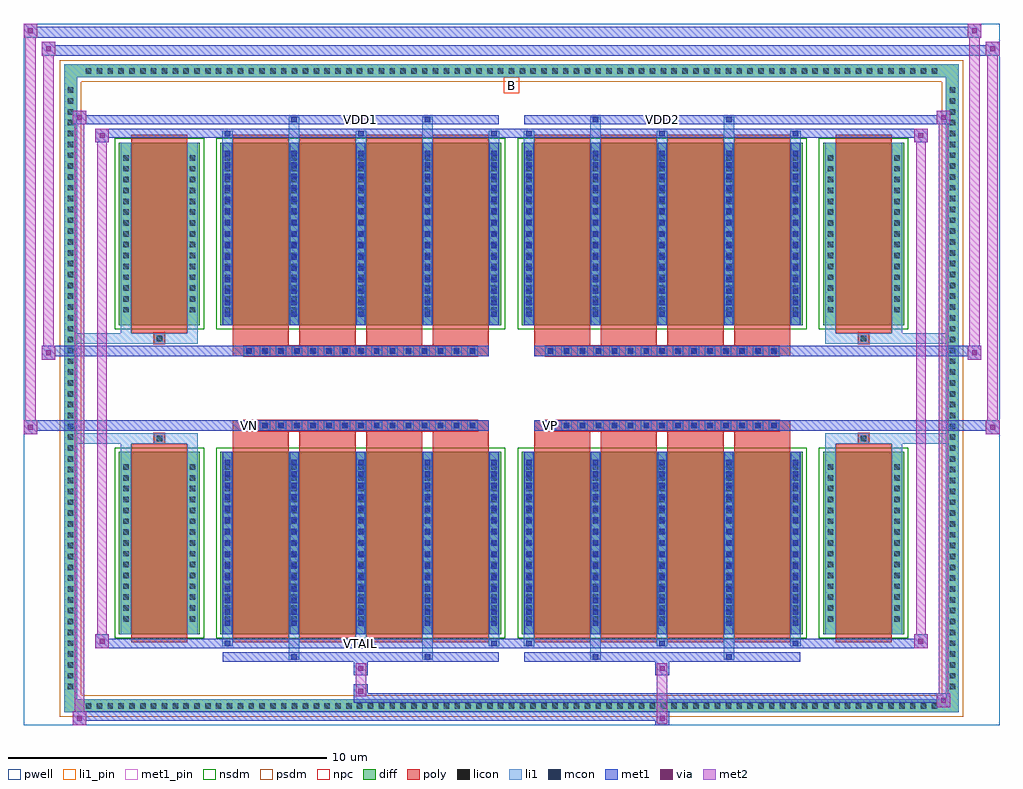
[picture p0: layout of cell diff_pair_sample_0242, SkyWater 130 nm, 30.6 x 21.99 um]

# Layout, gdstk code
import gdstk
lib = gdstk.Library(unit=1e-6, precision=5e-09)
def R(c, l, rs):  # rectangles x0, y0, x1, y1
    for r in rs: c.add(gdstk.rectangle(r[:2], r[2:], *l))
def A(c, l, x, y, w, h, nx, ny, dx, dy):  # array of equal rectangles
    R(c, l, [(x+i*dx, y+j*dy, x+i*dx+w, y+j*dy+h) for i in range(nx) for j in range(ny)])
def P(c, l, *ps):  # polygons
    for p in ps: c.add(gdstk.Polygon(p, *l))
pwell = (64, 44)
diff = (65, 20)
poly = (66, 20)
licon = (66, 44)
li1_pin = (67, 16)
li1 = (67, 20)
mcon = (67, 44)
met1_pin = (68, 16)
met1 = (68, 20)
via = (68, 44)
met2 = (69, 20)
nsdm = (93, 44)
psdm = (94, 20)
npc = (95, 20)

diff_pair_sample_0242 = lib.new_cell('diff_pair_sample_0242')
R(diff_pair_sample_0242, pwell, [(-15.3,-10.56,15.3,11.43), (-12.62,-8.75,-0.01,-0.805), (0.01,-8.75,12.62,-0.805), (-12.62,0.805,-0.01,8.75), (0.01,0.805,12.62,8.75)])
A(diff_pair_sample_0242, diff, -13.465, -10.16, 0.41, 0.41, 79, 2, 0.34, 19.91)
A(diff_pair_sample_0242, diff, -14.03, -9.555, 0.41, 0.41, 1, 56, 0, 0.34)
A(diff_pair_sample_0242, diff, 13.62, -9.555, 0.41, 0.41, 1, 56, 0, 0.34)
R(diff_pair_sample_0242, diff, [(-13.465,-10.16,13.465,-9.75), (-14.03,-9.555,-13.62,9.555), (13.62,-9.555,14.03,9.555), (-12.31,-7.705,-9.77,-1.985), (-9.13,-7.705,-0.32,-1.985), (0.32,-7.705,9.13,-1.985), (9.77,-7.705,12.31,-1.985), (-12.31,1.985,-9.77,7.705), (-9.13,1.985,-0.32,7.705), (0.32,1.985,9.13,7.705), (9.77,1.985,12.31,7.705), (-13.465,9.75,13.465,10.16)])
P(diff_pair_sample_0242, diff, [(14.03,10.16),(-14.03,10.16),(-14.03,-9.75),(-13.62,-9.75),(-13.62,9.75),(13.62,9.75),(13.62,-9.75),(-13.62,-9.75),(-14.03,-9.75),(-14.03,-10.16),(14.03,-10.16)])
A(diff_pair_sample_0242, poly, -8.74, -7.955, 1.76, 6.22, 4, 2, 2.09, 9.69)
A(diff_pair_sample_0242, poly, 0.71, -7.955, 1.76, 6.22, 4, 2, 2.09, 9.69)
A(diff_pair_sample_0242, poly, -8.74, -1.735, 1.76, 0.4, 4, 2, 2.09, 3.07)
A(diff_pair_sample_0242, poly, 0.71, -1.735, 1.76, 0.4, 4, 2, 2.09, 3.07)
A(diff_pair_sample_0242, poly, -8.39, -1.335, 0.33, 0.33, 15, 2, 0.5, 2.34)
A(diff_pair_sample_0242, poly, 1.06, -1.335, 0.33, 0.33, 15, 2, 0.5, 2.34)
R(diff_pair_sample_0242, poly, [(-11.92,-7.955,-10.16,-1.735), (10.16,-7.955,11.92,-1.735), (-11.205,-1.735,-10.875,-1.405), (-11.205,-1.735,-10.875,-1.405), (10.875,-1.735,11.205,-1.405), (10.875,-1.735,11.205,-1.405), (-8.74,-1.335,-0.71,-1.005), (0.71,-1.335,8.74,-1.005), (-8.74,1.005,-0.71,1.335), (0.71,1.005,8.74,1.335), (-11.205,1.405,-10.875,1.735), (-11.205,1.405,-10.875,1.735), (10.875,1.405,11.205,1.735), (10.875,1.405,11.205,1.735), (-11.92,1.735,-10.16,7.955), (10.16,1.735,11.92,7.955)])
A(diff_pair_sample_0242, licon, -13.345, -10.04, 0.17, 0.17, 79, 2, 0.34, 19.91)
A(diff_pair_sample_0242, licon, -13.91, -9.435, 0.17, 0.17, 1, 56, 0, 0.34)
A(diff_pair_sample_0242, licon, 13.74, -9.435, 0.17, 0.17, 1, 56, 0, 0.34)
A(diff_pair_sample_0242, licon, -12.17, -7.31, 0.17, 0.17, 1, 15, 0, 0.34)
A(diff_pair_sample_0242, licon, -10.08, -7.31, 0.17, 0.17, 1, 15, 0, 0.34)
A(diff_pair_sample_0242, licon, -8.99, -7.31, 0.17, 0.17, 5, 15, 2.09, 0.34)
A(diff_pair_sample_0242, licon, 0.46, -7.31, 0.17, 0.17, 5, 15, 2.09, 0.34)
A(diff_pair_sample_0242, licon, 9.91, -7.31, 0.17, 0.17, 1, 15, 0, 0.34)
A(diff_pair_sample_0242, licon, 12, -7.31, 0.17, 0.17, 1, 15, 0, 0.34)
A(diff_pair_sample_0242, licon, -8.31, -1.255, 0.17, 0.17, 15, 2, 0.5, 2.34)
A(diff_pair_sample_0242, licon, 1.14, -1.255, 0.17, 0.17, 15, 2, 0.5, 2.34)
A(diff_pair_sample_0242, licon, -12.17, 2.38, 0.17, 0.17, 1, 15, 0, 0.34)
A(diff_pair_sample_0242, licon, -10.08, 2.38, 0.17, 0.17, 1, 15, 0, 0.34)
A(diff_pair_sample_0242, licon, -8.99, 2.38, 0.17, 0.17, 5, 15, 2.09, 0.34)
A(diff_pair_sample_0242, licon, 0.46, 2.38, 0.17, 0.17, 5, 15, 2.09, 0.34)
A(diff_pair_sample_0242, licon, 9.91, 2.38, 0.17, 0.17, 1, 15, 0, 0.34)
A(diff_pair_sample_0242, licon, 12, 2.38, 0.17, 0.17, 1, 15, 0, 0.34)
R(diff_pair_sample_0242, licon, [(-11.125,-1.655,-10.955,-1.485), (10.955,-1.655,11.125,-1.485), (-11.125,1.485,-10.955,1.655), (10.955,1.485,11.125,1.655)])
R(diff_pair_sample_0242, li1_pin, [(-0.25,9.25,0.25,9.75)])
A(diff_pair_sample_0242, li1, -13.425, -10.12, 0.33, 0.33, 79, 2, 0.34, 19.91)
A(diff_pair_sample_0242, li1, -13.99, -9.515, 0.33, 0.33, 1, 56, 0, 0.34)
A(diff_pair_sample_0242, li1, 13.66, -9.515, 0.33, 0.33, 1, 56, 0, 0.34)
A(diff_pair_sample_0242, li1, -9.07, -8.08, 0.33, 0.375, 3, 2, 4.18, 15.785)
A(diff_pair_sample_0242, li1, -8.99, -8.08, 0.17, 0.17, 3, 2, 4.18, 15.99)
A(diff_pair_sample_0242, li1, 0.38, -8.08, 0.33, 0.375, 3, 2, 4.18, 15.785)
A(diff_pair_sample_0242, li1, 0.46, -8.08, 0.17, 0.17, 3, 2, 4.18, 15.99)
A(diff_pair_sample_0242, li1, -9.07, -7.705, 0.33, 5.72, 5, 2, 2.09, 9.69)
A(diff_pair_sample_0242, li1, 0.38, -7.705, 0.33, 5.72, 5, 2, 2.09, 9.69)
A(diff_pair_sample_0242, li1, -8.99, -7.45, 0.17, 0.17, 5, 15, 2.09, 0.36)
A(diff_pair_sample_0242, li1, -8.99, -7.45, 0.17, 5.21, 5, 2, 2.09, 9.69)
A(diff_pair_sample_0242, li1, 0.46, -7.45, 0.17, 0.17, 5, 15, 2.09, 0.36)
A(diff_pair_sample_0242, li1, 0.46, -7.45, 0.17, 5.21, 5, 2, 2.09, 9.69)
A(diff_pair_sample_0242, li1, -12.25, -7.39, 0.33, 0.33, 1, 15, 0, 0.34)
A(diff_pair_sample_0242, li1, -10.16, -7.39, 0.33, 0.33, 1, 15, 0, 0.34)
A(diff_pair_sample_0242, li1, -9.07, -7.39, 0.33, 0.33, 5, 15, 2.09, 0.34)
A(diff_pair_sample_0242, li1, 0.38, -7.39, 0.33, 0.33, 5, 15, 2.09, 0.34)
A(diff_pair_sample_0242, li1, 9.83, -7.39, 0.33, 0.33, 1, 15, 0, 0.34)
A(diff_pair_sample_0242, li1, 11.92, -7.39, 0.33, 0.33, 1, 15, 0, 0.34)
A(diff_pair_sample_0242, li1, -8.39, -1.335, 0.33, 0.33, 15, 2, 0.5, 2.34)
A(diff_pair_sample_0242, li1, 1.06, -1.335, 0.33, 0.33, 15, 2, 0.5, 2.34)
A(diff_pair_sample_0242, li1, -8.99, 2.24, 0.17, 0.17, 5, 15, 2.09, 0.36)
A(diff_pair_sample_0242, li1, 0.46, 2.24, 0.17, 0.17, 5, 15, 2.09, 0.36)
A(diff_pair_sample_0242, li1, -12.25, 2.3, 0.33, 0.33, 1, 15, 0, 0.34)
A(diff_pair_sample_0242, li1, -10.16, 2.3, 0.33, 0.33, 1, 15, 0, 0.34)
A(diff_pair_sample_0242, li1, -9.07, 2.3, 0.33, 0.33, 5, 15, 2.09, 0.34)
A(diff_pair_sample_0242, li1, 0.38, 2.3, 0.33, 0.33, 5, 15, 2.09, 0.34)
A(diff_pair_sample_0242, li1, 9.83, 2.3, 0.33, 0.33, 1, 15, 0, 0.34)
A(diff_pair_sample_0242, li1, 11.92, 2.3, 0.33, 0.33, 1, 15, 0, 0.34)
R(diff_pair_sample_0242, li1, [(-14.03,-10.16,-13.62,-9.75), (-14.03,-10.16,-13.62,-9.75), (-13.62,-10.16,13.62,-9.75), (13.62,-10.16,14.03,-9.75), (13.62,-10.16,14.03,-9.75), (-14.03,-9.75,-13.62,9.75), (13.62,-9.75,14.03,9.75), (-6.98,-8.51,-6.65,-7.705), (-6.9,-8.51,-6.73,-8.34), (-2.8,-8.51,-2.47,-7.705), (-2.72,-8.51,-2.55,-8.34), (2.47,-8.51,2.8,-7.705), (2.55,-8.51,2.72,-8.34), (6.65,-8.51,6.98,-7.705), (6.73,-8.51,6.9,-8.34), (-12.25,-7.705,-11.92,-1.985), (-10.16,-7.705,-9.83,-1.985), (9.83,-7.705,10.16,-1.985), (11.92,-7.705,12.25,-1.985), (-12.25,-1.985,-11.92,-1.405), (-10.16,-1.985,-9.83,-1.405), (9.83,-1.985,10.16,-1.405), (11.92,-1.985,12.25,-1.405), (-14.03,-1.735,-11.205,-1.405), (-12.25,-1.735,-11.205,-1.405), (-11.205,-1.735,-10.875,-1.405), (-10.875,-1.735,-9.83,-1.405), (9.83,-1.735,10.875,-1.405), (10.875,-1.735,11.205,-1.405), (10.875,-1.735,14.03,-1.405), (11.205,-1.735,12.25,-1.405), (-14.03,1.405,-11.205,1.735), (-12.25,1.405,-11.205,1.735), (-12.25,1.405,-11.92,1.985), (-11.205,1.405,-10.875,1.735), (-10.875,1.405,-9.83,1.735), (-10.16,1.405,-9.83,1.985), (9.83,1.405,10.875,1.735), (9.83,1.405,10.16,1.985), (10.875,1.405,11.205,1.735), (10.875,1.405,14.03,1.735), (11.205,1.405,12.25,1.735), (11.92,1.405,12.25,1.985), (-12.25,1.985,-11.92,7.705), (-10.16,1.985,-9.83,7.705), (9.83,1.985,10.16,7.705), (11.92,1.985,12.25,7.705), (-6.98,7.705,-6.65,8.51), (-2.8,7.705,-2.47,8.51), (2.47,7.705,2.8,8.51), (6.65,7.705,6.98,8.51), (-6.9,8.34,-6.73,8.51), (-2.72,8.34,-2.55,8.51), (2.55,8.34,2.72,8.51), (6.73,8.34,6.9,8.51), (-14.03,9.75,-13.62,10.16), (-14.03,9.75,-13.62,10.16), (-13.62,9.75,13.62,10.16), (13.62,9.75,14.03,10.16), (13.62,9.75,14.03,10.16)])
A(diff_pair_sample_0242, mcon, -8.99, -8.08, 0.17, 0.17, 3, 2, 4.18, 15.99)
A(diff_pair_sample_0242, mcon, 0.46, -8.08, 0.17, 0.17, 3, 2, 4.18, 15.99)
A(diff_pair_sample_0242, mcon, -8.99, -7.45, 0.17, 0.17, 5, 15, 2.09, 0.36)
A(diff_pair_sample_0242, mcon, 0.46, -7.45, 0.17, 0.17, 5, 15, 2.09, 0.36)
A(diff_pair_sample_0242, mcon, -8.31, -1.255, 0.17, 0.17, 15, 2, 0.5, 2.34)
A(diff_pair_sample_0242, mcon, 1.14, -1.255, 0.17, 0.17, 15, 2, 0.5, 2.34)
A(diff_pair_sample_0242, mcon, -8.99, 2.24, 0.17, 0.17, 5, 15, 2.09, 0.36)
A(diff_pair_sample_0242, mcon, 0.46, 2.24, 0.17, 0.17, 5, 15, 2.09, 0.36)
R(diff_pair_sample_0242, mcon, [(-6.9,-8.51,-6.73,-8.34), (-2.72,-8.51,-2.55,-8.34), (2.55,-8.51,2.72,-8.34), (6.73,-8.51,6.9,-8.34), (-6.9,8.34,-6.73,8.51), (-2.72,8.34,-2.55,8.51), (2.55,8.34,2.72,8.51), (6.73,8.34,6.9,8.51)])
R(diff_pair_sample_0242, met1_pin, [(-4.86,-8.12,-4.59,-7.85), (-8.36,-1.295,-8.09,-1.025), (1.09,-1.295,1.36,-1.025), (-4.86,8.3,-4.59,8.57), (4.59,8.3,4.86,8.57)])
A(diff_pair_sample_0242, met1, -9.05, -8.14, 0.29, 0.29, 3, 2, 4.18, 15.99)
A(diff_pair_sample_0242, met1, 0.4, -8.14, 0.29, 0.29, 3, 2, 4.18, 15.99)
A(diff_pair_sample_0242, met1, -9.05, -7.705, 0.29, 5.72, 5, 2, 2.09, 9.69)
A(diff_pair_sample_0242, met1, 0.4, -7.705, 0.29, 5.72, 5, 2, 2.09, 9.69)
A(diff_pair_sample_0242, met1, -9.05, -7.51, 0.29, 0.29, 5, 15, 2.09, 0.36)
A(diff_pair_sample_0242, met1, 0.4, -7.51, 0.29, 0.29, 5, 15, 2.09, 0.36)
A(diff_pair_sample_0242, met1, -8.37, -1.315, 0.29, 0.29, 15, 2, 0.5, 2.34)
A(diff_pair_sample_0242, met1, 1.08, -1.315, 0.29, 0.29, 15, 2, 0.5, 2.34)
A(diff_pair_sample_0242, met1, -9.05, 2.18, 0.29, 0.29, 5, 15, 2.09, 0.36)
A(diff_pair_sample_0242, met1, 0.4, 2.18, 0.29, 0.29, 5, 15, 2.09, 0.36)
R(diff_pair_sample_0242, met1, [(-13.76,-10.56,-13.33,-10.13), (4.51,-10.56,4.94,-10.13), (-13.76,-10.42,4.94,-10.13), (13.33,-9.99,13.76,-9.56), (-4.94,-9.85,13.76,-9.56), (-4.94,-9.71,-4.51,-9.28), (-4.94,-9,-4.51,-8.57), (4.51,-9,4.94,-8.57), (-9.05,-8.57,-0.4,-8.28), (-6.96,-8.57,-6.67,-8.28), (-2.78,-8.57,-2.49,-8.28), (0.4,-8.57,9.05,-8.28), (2.49,-8.57,2.78,-8.28), (6.67,-8.57,6.96,-8.28), (-13.05,-8.14,-12.62,-7.71), (-13.05,-8.14,-9.05,-7.85), (-9.05,-8.14,-0.4,-7.85), (-0.4,-8.14,0.4,-7.85), (0.4,-8.14,9.05,-7.85), (9.05,-8.14,13.05,-7.85), (12.62,-8.14,13.05,-7.71), (-15.3,-1.435,-14.87,-1.005), (14.87,-1.435,15.3,-1.005), (-15.3,-1.335,-0.71,-1.005), (-8.74,-1.335,-0.71,-1.005), (0.71,-1.335,8.74,-1.005), (0.71,-1.335,15.3,-1.005), (-14.73,0.905,-14.3,1.335), (14.3,0.905,14.73,1.335), (-14.73,1.005,-8.74,1.335), (-8.74,1.005,-0.71,1.335), (0.71,1.005,8.74,1.335), (8.74,1.005,14.73,1.335), (-13.05,7.71,-12.62,8.14), (12.62,7.71,13.05,8.14), (-13.05,7.85,-9.05,8.14), (-9.05,7.85,-0.4,8.14), (-0.4,7.85,0.4,8.14), (0.4,7.85,9.05,8.14), (9.05,7.85,13.05,8.14), (-13.76,8.28,-13.33,8.71), (-13.76,8.28,-9.05,8.57), (-9.05,8.28,-0.4,8.57), (-6.96,8.28,-6.67,8.57), (-2.78,8.28,-2.49,8.57), (0.4,8.28,9.05,8.57), (2.49,8.28,2.78,8.57), (6.67,8.28,6.96,8.57), (9.05,8.28,13.76,8.57), (13.33,8.28,13.76,8.71), (-14.73,10.43,-14.3,10.86), (-14.73,10.43,-12.62,10.76), (-12.62,10.43,12.62,10.76), (12.62,10.43,15.3,10.76), (14.87,10.43,15.3,10.86), (-15.3,11,-14.87,11.43), (-15.3,11,-12.62,11.33), (-12.62,11,12.62,11.33), (12.62,11,14.73,11.33), (14.3,11,14.73,11.43)])
R(diff_pair_sample_0242, via, [(-13.62,-10.42,-13.47,-10.27), (4.65,-10.42,4.8,-10.27), (13.47,-9.85,13.62,-9.7), (-4.8,-9.57,-4.65,-9.42), (-4.8,-8.86,-4.65,-8.71), (4.65,-8.86,4.8,-8.71), (-12.91,-8,-12.76,-7.85), (12.76,-8,12.91,-7.85), (-15.16,-1.295,-15.01,-1.145), (15.01,-1.295,15.16,-1.145), (-14.59,1.045,-14.44,1.195), (14.44,1.045,14.59,1.195), (-12.91,7.85,-12.76,8), (12.76,7.85,12.91,8), (-13.62,8.42,-13.47,8.57), (13.47,8.42,13.62,8.57), (-14.59,10.57,-14.44,10.72), (15.01,10.57,15.16,10.72), (-15.16,11.14,-15.01,11.29), (14.44,11.14,14.59,11.29)])
R(diff_pair_sample_0242, met2, [(-13.76,-10.56,-13.33,-10.13), (-13.69,-10.56,-13.4,8.71), (-13.4,-10.56,-13.33,-10.13), (-13.71,-10.51,-13.38,-10.18), (4.56,-10.51,4.89,-10.18), (4.56,-10.18,4.89,-8.95), (13.33,-9.99,13.76,-9.56), (13.4,-9.99,13.69,8.71), (13.69,-9.99,13.76,-9.56), (13.38,-9.94,13.71,-9.61), (-4.89,-9.66,-4.56,-9.33), (-4.89,-9.33,-4.56,-8.95), (-4.89,-8.95,-4.56,-8.62), (4.56,-8.95,4.89,-8.62), (-13.05,-8.14,-12.62,-7.71), (-12.98,-8.14,-12.69,8.14), (-12.69,-8.14,-12.62,-7.71), (12.62,-8.14,13.05,-7.71), (12.69,-8.14,12.98,8.14), (12.98,-8.14,13.05,-7.71), (-13,-8.09,-12.67,-7.76), (12.67,-8.09,13,-7.76), (-15.3,-1.435,-14.87,-1.005), (-15.25,-1.435,-14.92,11.43), (-14.92,-1.435,-14.87,-1.005), (14.87,-1.435,15.3,-1.005), (14.92,-1.435,15.25,10.86), (15.25,-1.435,15.3,-1.005), (-15.25,-1.385,-14.92,-1.055), (14.92,-1.385,15.25,-1.055), (-14.73,0.905,-14.3,1.335), (-14.68,0.905,-14.35,10.86), (-14.35,0.905,-14.3,1.335), (14.3,0.905,14.73,1.335), (14.35,0.905,14.68,11.43), (14.68,0.905,14.73,1.335), (-14.68,0.955,-14.35,1.285), (14.35,0.955,14.68,1.285), (-13.05,7.71,-12.62,8.14), (-12.69,7.71,-12.62,8.14), (12.62,7.71,13.05,8.14), (12.98,7.71,13.05,8.14), (-13,7.76,-12.67,8.09), (12.67,7.76,13,8.09), (-13.76,8.28,-13.33,8.71), (-13.4,8.28,-13.33,8.71), (13.33,8.28,13.76,8.71), (13.69,8.28,13.76,8.71), (-13.71,8.33,-13.38,8.66), (13.38,8.33,13.71,8.66), (-14.73,10.43,-14.3,10.86), (-14.35,10.43,-14.3,10.86), (14.87,10.43,15.3,10.86), (15.25,10.43,15.3,10.86), (-14.68,10.48,-14.35,10.81), (14.92,10.48,15.25,10.81), (-15.3,11,-14.87,11.43), (-14.92,11,-14.87,11.43), (14.3,11,14.73,11.43), (14.68,11,14.73,11.43), (-15.25,11.05,-14.92,11.38), (14.35,11.05,14.68,11.38)])
R(diff_pair_sample_0242, nsdm, [(-12.44,-7.835,-9.64,-1.855), (-9.26,-7.835,-0.19,-1.855), (0.19,-7.835,9.26,-1.855), (9.64,-7.835,12.44,-1.855), (-12.44,1.855,-9.64,7.835), (-9.26,1.855,-0.19,7.835), (0.19,1.855,9.26,7.835), (9.64,1.855,12.44,7.835)])
P(diff_pair_sample_0242, psdm, [(14.16,10.29),(-14.16,10.29),(-14.16,-9.62),(-13.49,-9.62),(-13.49,9.62),(13.49,9.62),(13.49,-9.62),(-13.49,-9.62),(-14.16,-9.62),(-14.16,-10.29),(14.16,-10.29)])
A(diff_pair_sample_0242, npc, -8.41, -1.355, 0.37, 0.37, 15, 2, 0.5, 2.34)
A(diff_pair_sample_0242, npc, 1.04, -1.355, 0.37, 0.37, 15, 2, 0.5, 2.34)
R(diff_pair_sample_0242, npc, [(-11.225,-1.755,-10.855,-1.385), (10.855,-1.755,11.225,-1.385), (-8.41,-1.355,-7.54,-0.985), (-8.41,-1.355,-7.54,-0.985), (-7.91,-1.355,-7.04,-0.985), (-7.91,-1.355,-7.04,-0.985), (-7.41,-1.355,-6.54,-0.985), (-7.41,-1.355,-6.54,-0.985), (-6.91,-1.355,-6.04,-0.985), (-6.91,-1.355,-6.04,-0.985), (-6.41,-1.355,-5.54,-0.985), (-6.41,-1.355,-5.54,-0.985), (-5.91,-1.355,-5.04,-0.985), (-5.91,-1.355,-5.04,-0.985), (-5.41,-1.355,-4.54,-0.985), (-5.41,-1.355,-4.54,-0.985), (-4.91,-1.355,-4.04,-0.985), (-4.91,-1.355,-4.04,-0.985), (-4.41,-1.355,-3.54,-0.985), (-4.41,-1.355,-3.54,-0.985), (-3.91,-1.355,-3.04,-0.985), (-3.91,-1.355,-3.04,-0.985), (-3.41,-1.355,-2.54,-0.985), (-3.41,-1.355,-2.54,-0.985), (-2.91,-1.355,-2.04,-0.985), (-2.91,-1.355,-2.04,-0.985), (-2.41,-1.355,-1.54,-0.985), (-2.41,-1.355,-1.54,-0.985), (-1.91,-1.355,-1.04,-0.985), (-1.91,-1.355,-1.04,-0.985), (1.04,-1.355,1.91,-0.985), (1.04,-1.355,1.91,-0.985), (1.54,-1.355,2.41,-0.985), (1.54,-1.355,2.41,-0.985), (2.04,-1.355,2.91,-0.985), (2.04,-1.355,2.91,-0.985), (2.54,-1.355,3.41,-0.985), (2.54,-1.355,3.41,-0.985), (3.04,-1.355,3.91,-0.985), (3.04,-1.355,3.91,-0.985), (3.54,-1.355,4.41,-0.985), (3.54,-1.355,4.41,-0.985), (4.04,-1.355,4.91,-0.985), (4.04,-1.355,4.91,-0.985), (4.54,-1.355,5.41,-0.985), (4.54,-1.355,5.41,-0.985), (5.04,-1.355,5.91,-0.985), (5.04,-1.355,5.91,-0.985), (5.54,-1.355,6.41,-0.985), (5.54,-1.355,6.41,-0.985), (6.04,-1.355,6.91,-0.985), (6.04,-1.355,6.91,-0.985), (6.54,-1.355,7.41,-0.985), (6.54,-1.355,7.41,-0.985), (7.04,-1.355,7.91,-0.985), (7.04,-1.355,7.91,-0.985), (7.54,-1.355,8.41,-0.985), (7.54,-1.355,8.41,-0.985), (-8.41,0.985,-7.54,1.355), (-8.41,0.985,-7.54,1.355), (-7.91,0.985,-7.04,1.355), (-7.91,0.985,-7.04,1.355), (-7.41,0.985,-6.54,1.355), (-7.41,0.985,-6.54,1.355), (-6.91,0.985,-6.04,1.355), (-6.91,0.985,-6.04,1.355), (-6.41,0.985,-5.54,1.355), (-6.41,0.985,-5.54,1.355), (-5.91,0.985,-5.04,1.355), (-5.91,0.985,-5.04,1.355), (-5.41,0.985,-4.54,1.355), (-5.41,0.985,-4.54,1.355), (-4.91,0.985,-4.04,1.355), (-4.91,0.985,-4.04,1.355), (-4.41,0.985,-3.54,1.355), (-4.41,0.985,-3.54,1.355), (-3.91,0.985,-3.04,1.355), (-3.91,0.985,-3.04,1.355), (-3.41,0.985,-2.54,1.355), (-3.41,0.985,-2.54,1.355), (-2.91,0.985,-2.04,1.355), (-2.91,0.985,-2.04,1.355), (-2.41,0.985,-1.54,1.355), (-2.41,0.985,-1.54,1.355), (-1.91,0.985,-1.04,1.355), (-1.91,0.985,-1.04,1.355), (1.04,0.985,1.91,1.355), (1.04,0.985,1.91,1.355), (1.54,0.985,2.41,1.355), (1.54,0.985,2.41,1.355), (2.04,0.985,2.91,1.355), (2.04,0.985,2.91,1.355), (2.54,0.985,3.41,1.355), (2.54,0.985,3.41,1.355), (3.04,0.985,3.91,1.355), (3.04,0.985,3.91,1.355), (3.54,0.985,4.41,1.355), (3.54,0.985,4.41,1.355), (4.04,0.985,4.91,1.355), (4.04,0.985,4.91,1.355), (4.54,0.985,5.41,1.355), (4.54,0.985,5.41,1.355), (5.04,0.985,5.91,1.355), (5.04,0.985,5.91,1.355), (5.54,0.985,6.41,1.355), (5.54,0.985,6.41,1.355), (6.04,0.985,6.91,1.355), (6.04,0.985,6.91,1.355), (6.54,0.985,7.41,1.355), (6.54,0.985,7.41,1.355), (7.04,0.985,7.91,1.355), (7.04,0.985,7.91,1.355), (7.54,0.985,8.41,1.355), (7.54,0.985,8.41,1.355), (-11.225,1.385,-10.855,1.755), (10.855,1.385,11.225,1.755)])
diff_pair_sample_0242.add(gdstk.Label('VTAIL', (-4.725,-7.985), layer=68, texttype=5))
diff_pair_sample_0242.add(gdstk.Label('VN', (-8.225,-1.16), layer=68, texttype=5))
diff_pair_sample_0242.add(gdstk.Label('VP', (1.225,-1.16), layer=68, texttype=5))
diff_pair_sample_0242.add(gdstk.Label('B', (0,9.5), layer=67, texttype=5))
diff_pair_sample_0242.add(gdstk.Label('VDD2', (4.725,8.435), layer=68, texttype=5))
diff_pair_sample_0242.add(gdstk.Label('VDD1', (-4.725,8.435), layer=68, texttype=5))

lib.write_gds('diff_pair_sample_0242.gds')
